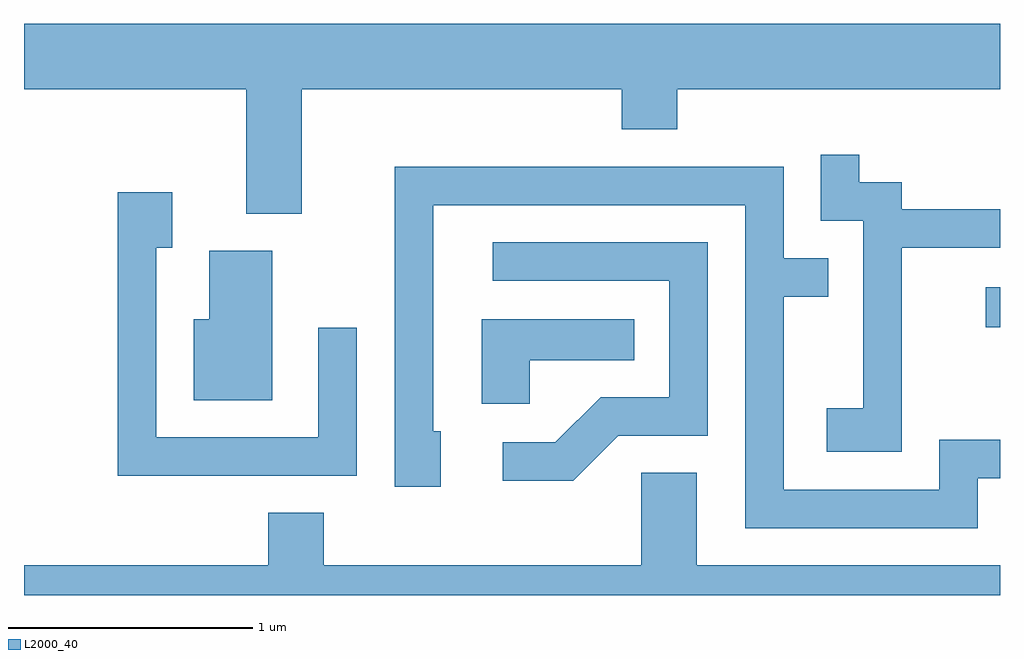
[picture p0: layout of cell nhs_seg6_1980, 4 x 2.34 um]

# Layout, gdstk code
import gdstk
lib = gdstk.Library(unit=1e-6, precision=1e-09)
def R(c, l, rs):  # rectangles x0, y0, x1, y1
    for r in rs: c.add(gdstk.rectangle(r[:2], r[2:], *l))
def P(c, l, *ps):  # polygons
    for p in ps: c.add(gdstk.Polygon(p, *l))
L2000_40 = (2000, 40)

nhs_seg6_1980 = lib.new_cell('nhs_seg6_1980')
R(nhs_seg6_1980, L2000_40, [(249.553,1571.261,249.611,1571.424)])
P(nhs_seg6_1980, L2000_40, [(246.749,1572.236),(248.061,1572.236),(248.061,1572.071),(248.289,1572.071),(248.289,1572.236),(249.611,1572.236),(249.611,1572.504),(245.611,1572.504),(245.611,1572.236),(246.521,1572.236),(246.521,1571.726),(246.749,1571.726)],
  [(249.209,1571.586),(249.611,1571.586),(249.611,1571.744),(249.209,1571.744),(249.209,1571.854),(249.034,1571.854),(249.034,1571.968),(248.876,1571.968),(248.876,1571.696),(249.051,1571.696),(249.051,1570.929),(248.901,1570.929),(248.901,1570.751),(249.209,1570.751)],
  [(249.519,1570.641),(249.611,1570.641),(249.611,1570.799),(249.361,1570.799),(249.361,1570.594),(248.724,1570.594),(248.724,1571.386),(248.908,1571.386),(248.908,1571.544),(248.724,1571.544),(248.724,1571.919),(247.131,1571.919),(247.131,1570.606),(247.319,1570.606),(247.319,1570.834),(247.289,1570.834),(247.289,1571.761),(248.566,1571.761),(248.566,1570.436),(249.519,1570.436)],
  [(246.974,1571.258),(246.816,1571.258),(246.816,1570.809),(246.154,1570.809),(246.154,1571.586),(246.219,1571.586),(246.219,1571.814),(245.996,1571.814),(245.996,1570.651),(246.974,1570.651)],
  [(248.047,1570.816),(248.414,1570.816),(248.414,1571.609),(247.533,1571.609),(247.533,1571.451),(248.256,1571.451),(248.256,1570.974),(247.974,1570.974),(247.789,1570.789),(247.573,1570.789),(247.573,1570.631),(247.862,1570.631)],
  [(246.629,1571.574),(246.371,1571.574),(246.371,1571.294),(246.306,1571.294),(246.306,1570.961),(246.629,1570.961)],
  [(247.684,1571.126),(248.113,1571.126),(248.113,1571.294),(247.486,1571.294),(247.486,1570.946),(247.684,1570.946)],
  [(249.611,1570.284),(248.369,1570.284),(248.369,1570.664),(248.141,1570.664),(248.141,1570.284),(246.839,1570.284),(246.839,1570.499),(246.611,1570.499),(246.611,1570.284),(245.611,1570.284),(245.611,1570.162),(249.611,1570.162)])

lib.write_gds('nhs_seg6_1980.gds')
